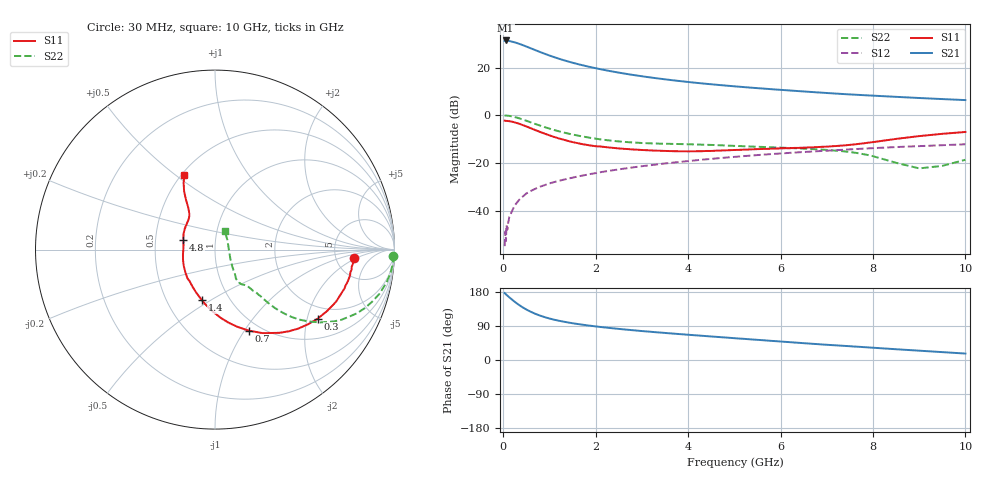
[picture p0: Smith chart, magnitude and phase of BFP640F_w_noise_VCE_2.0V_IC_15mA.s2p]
! Infineon Technologies  Discrete & RF Semiconductors
! BFP640F
! VCE =  2.0 V,  IC =  15 mA
! Common Emitter S-Parameters:  Apr 2013
# GHz  S  MA  R  50
!  f  S11  S21  S12  S22
! GHz  MAG  ANG  MAG  ANG  MAG  ANG  MAG  ANG
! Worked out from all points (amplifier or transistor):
!   99 points, 30 MHz to 10 GHz, reference 50 ohm
!   highest |S21| = 31.5 dB at 50 MHz (marker M1)
!   |S21| within 3 dB of that: start of sweep to 558.4 MHz
!   unconditionally stable (mu >= 1): 2.573 GHz to end of sweep
!   at 350 MHz: K = 0.29, MSG = 32.7 dB, |S12| = -35.3 dB
!   at 3.5 GHz: K = 1.04, MAG = 16.4 dB, |S12| = -20.2 dB
!   at 10 GHz: K = 1.05, MAG = 7.8 dB, |S12| = -12.1 dB
!   lowest NFmin = 0.74 dB at 450 MHz
!   S11 on the Smith chart (normalised r, x): 30 MHz: 7.47, -1.77; 300 MHz: 1.59, -2.33; 700 MHz: 0.88, -1.05; 1.4 GHz: 0.74, -0.46; 4.8 GHz: 0.70, +0.08; 10 GHz: 0.52, +0.54
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0.03  0.7753 -3.5  36.99 176.7  0.0018 74.6  0.9936 -1.9
0.05  0.7721 -6.0  37.42 174.5  0.0037 76.3  0.9958 -3.6
0.07  0.7692 -8.4  37.25 172.0  0.005 96.7  0.9924 -5.2
0.15  0.7495 -17.7  36.13 163.5  0.008 83.5  0.9695 -11.4
0.25  0.7123 -28.7  34.09 153.5  0.013 76.6  0.9228 -18.3
0.3  0.6897 -33.9  32.93 148.9  0.0149 76.5  0.8956 -21.4
0.4  0.6384 -43.7  30.47 140.5  0.0191 72.0  0.8328 -26.8
0.5  0.5867 -52.2  27.92 133.3  0.023 70.5  0.7724 -31.2
0.6  0.5365 -60.2  25.52 127.0  0.0261 69.1  0.7128 -34.7
0.7  0.4896 -67.3  23.35 121.6  0.029 67.2  0.6577 -37.5
0.8  0.449 -73.7  21.35 117.0  0.032 65.6  0.6105 -39.7
1  0.3815 -85.2  18.08 109.5  0.0373 64.3  0.5285 -42.6
1.2  0.3297 -95.2  15.54 103.7  0.0422 63.7  0.4651 -44.3
1.4  0.2918 -104.4  13.58 99.1  0.047 63.4  0.417 -45.1
1.7  0.2509 -117.3  11.39 93.4  0.0542 62.9  0.3631 -45.6
2.4  0.2071 -143.3  8.223 83.3  0.0712 61.2  0.2907 -47.7
3.4  0.1809 -170.7  5.882 72.4  0.0956 58.0  0.2551 -50.3
4.8  0.1848 162.8  4.24 59.4  0.1298 52.0  0.2337 -53.5
5.1  0.1891 158.5  4.007 56.7  0.137 50.6  0.2277 -53.9
6.7  0.2142 136.6  3.088 42.7  0.1749 42.2  0.196 -53.8
8.5  0.3211 120.2  2.453 28.4  0.2165 32.3  0.1012 -31.8
10  0.4491 112.3  2.096 17.0  0.2478 23.8  0.1172 62.6
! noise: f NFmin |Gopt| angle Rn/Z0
0.45  0.74  0.06  6  0.05
0.9  0.75  0.06  19  0.06
1.5  0.76  0.05  35  0.07
1.9  0.77  0.05  51  0.07
2.4  0.79  0.04  76  0.08
3.5  0.88  0.05  131  0.09
5.5  1.07  0.14  -142  0.12
10  1.56  0.4  -93  0.36
